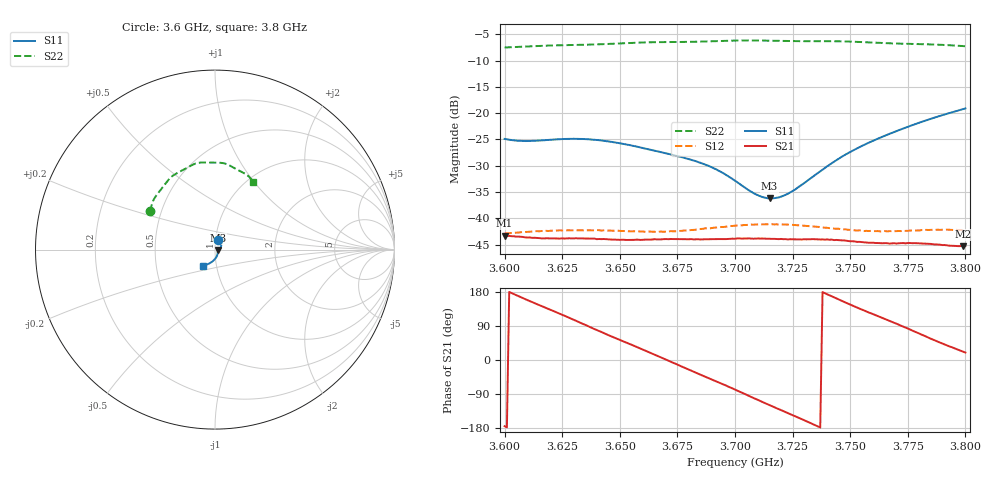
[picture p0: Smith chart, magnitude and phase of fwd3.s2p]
#  HZ  S  DB  R  50.00
! Rohde & Schwarz ZVB8 2Ports - Version 3.70 - 1145.1010k08 SN: 100925
! Date: 2017-03-03 16:10:29
! Measurements: S11 S21 S12 S22
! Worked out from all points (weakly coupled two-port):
!   201 points, 3.6 GHz to 3.8 GHz, reference 50 ohm
!   highest |S21| = -43.32 dB at 3.6 GHz (marker M1); lowest = -45.3 dB at 3.799 GHz (marker M2)
!   lowest |S11| = -36.2 dB at 3.715 GHz (marker M3), VSWR 1.03, Z = 51.5 - j0.486 ohm
!   |S11| at or under -10 dB: start of sweep to end of sweep
!   |S22| runs from -7.5 to -6.2 dB; largest |S21 - S12| = 0.0025
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3.6e9  -24.89 74.6  -43.32 -174.7  -42.87 -160.6  -7.50 149.5
3.609e9  -25.30 80.1  -43.64 160.6  -42.60 174.8  -7.31 145.4
3.634e9  -24.91 71.7  -43.83 95.2  -42.28 104.8  -6.98 134.5
3.647e9  -25.49 57.0  -44.05 60.7  -42.38 68.3  -6.78 127.7
3.667e9  -27.31 36.1  -44.01 9.1  -42.53 15.9  -6.48 119.1
3.675e9  -28.15 29.0  -43.97 -12.2  -42.46 -4.1  -6.45 115.3
3.686e9  -29.58 17.8  -44.00 -41.2  -42.00 -33.0  -6.36 109.6
3.692e9  -30.72 10.2  -43.95 -56.8  -41.74 -49.1  -6.28 106.7
3.7e9  -32.83 -0.5  -43.89 -78.1  -41.38 -72.1  -6.18 103.4
3.709e9  -35.42 -10.9  -43.86 -102.7  -41.19 -98.9  -6.16 99.9
3.715e9  -36.21 -17.7  -43.89 -118.9  -41.18 -116.7  -6.20 97.4
3.719e9  -36.02 -23.5  -43.96 -129.6  -41.19 -128.6  -6.24 95.6
3.723e9  -35.32 -30.9  -44.03 -140.3  -41.19 -140.8  -6.27 93.7
3.734e9  -32.01 -53.8  -43.96 -169.9  -41.56 -173.3  -6.30 88.4
3.743e9  -29.23 -70.2  -44.15 165.4  -41.96 162.2  -6.31 84.6
3.75e9  -27.37 -80.4  -44.36 146.3  -42.20 143.7  -6.38 82.0
3.756e9  -26.03 -88.0  -44.56 130.8  -42.43 128.4  -6.48 79.5
3.767e9  -23.94 -99.5  -44.81 103.4  -42.43 100.9  -6.70 74.4
3.778e9  -22.11 -109.3  -44.72 75.0  -42.31 71.7  -6.83 69.2
3.792e9  -20.10 -120.7  -45.15 38.5  -42.15 32.7  -7.04 63.8
3.799e9  -19.21 -125.8  -45.30 22.0  -42.30 12.7  -7.23 61.1
3.8e9  -19.09 -126.5  -45.26 19.7  -42.28 10.1  -7.26 60.6
